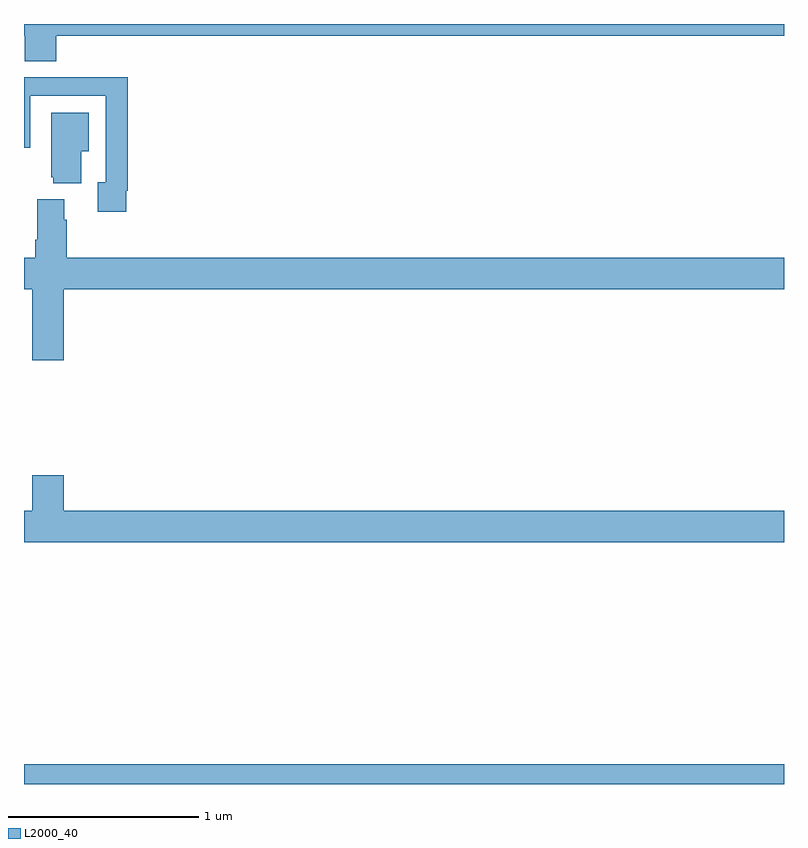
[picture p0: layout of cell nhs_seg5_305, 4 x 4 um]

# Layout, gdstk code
import gdstk
lib = gdstk.Library(unit=1e-6, precision=1e-09)
def R(c, l, rs):  # rectangles x0, y0, x1, y1
    for r in rs: c.add(gdstk.rectangle(r[:2], r[2:], *l))
def P(c, l, *ps):  # polygons
    for p in ps: c.add(gdstk.Polygon(p, *l))
L2000_40 = (2000, 40)

nhs_seg5_305 = lib.new_cell('nhs_seg5_305')
R(nhs_seg5_305, L2000_40, [(129,876.799,133,876.904)])
P(nhs_seg5_305, L2000_40, [(129.17,880.736),(133,880.736),(133,880.799),(129,880.799),(129,880.736),(129.005,880.736),(129.005,880.603),(129.17,880.603)],
  [(129.538,879.922),(129.545,879.922),(129.545,880.52),(129.253,880.52),(129.253,880.518),(129,880.518),(129,880.149),(129.033,880.149),(129.033,880.422),(129.429,880.422),(129.429,879.966),(129.389,879.966),(129.389,879.81),(129.538,879.81)],
  [(129.301,880.13),(129.34,880.13),(129.34,880.333),(129.143,880.333),(129.143,879.993),(129.155,879.993),(129.155,879.962),(129.301,879.962)],
  [(129.208,879.404),(133,879.404),(133,879.568),(129.224,879.568),(129.224,879.77),(129.211,879.77),(129.211,879.877),(129.071,879.877),(129.071,879.664),(129.059,879.664),(129.059,879.568),(129,879.568),(129,879.404),(129.044,879.404),(129.044,879.03),(129.208,879.03)],
  [(133,878.236),(129.208,878.236),(129.208,878.425),(129.044,878.425),(129.044,878.236),(129,878.236),(129,878.072),(133,878.072)])

lib.write_gds('nhs_seg5_305.gds')
